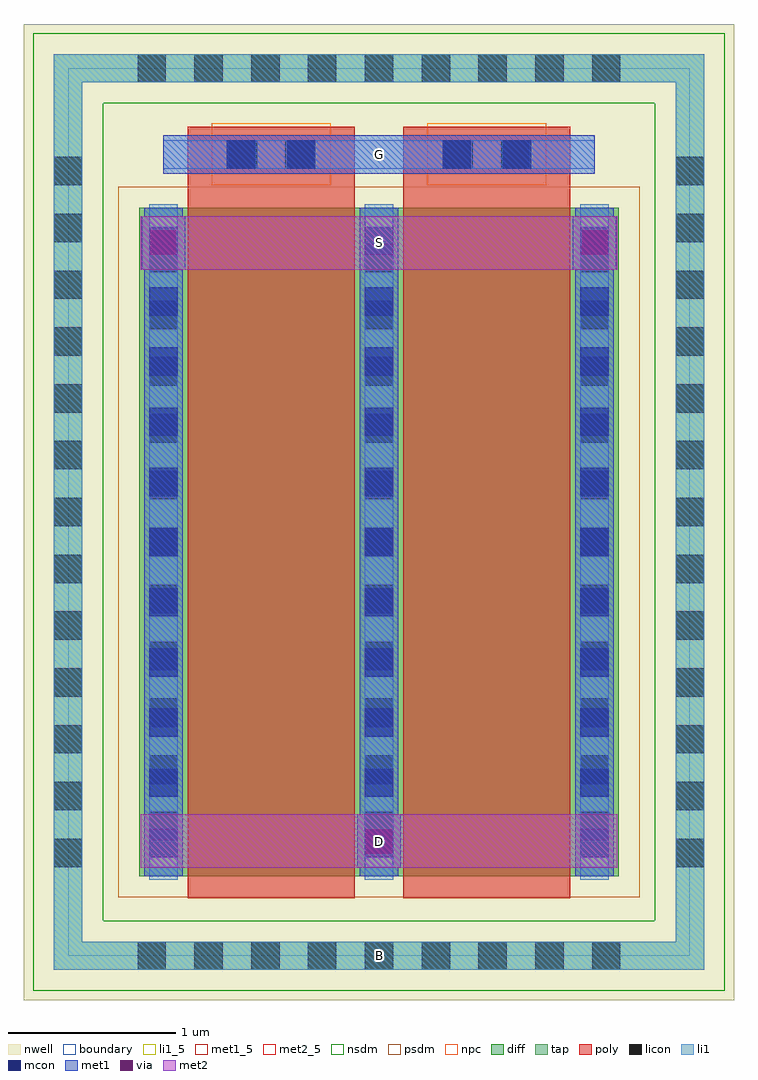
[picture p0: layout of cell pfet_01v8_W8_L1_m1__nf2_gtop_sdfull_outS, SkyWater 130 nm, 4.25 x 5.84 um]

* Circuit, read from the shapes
.subckt pfet_01v8_W8_L1_m1__nf2_gtop_sdfull_outS B D G S
XM1 D G S B sky130_fd_pr__pfet_01v8 w=4 l=1 m=2
.ends

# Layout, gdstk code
import gdstk
lib = gdstk.Library(unit=1e-6, precision=1e-09)
def R(c, l, rs):  # rectangles x0, y0, x1, y1
    for r in rs: c.add(gdstk.rectangle(r[:2], r[2:], *l))
def A(c, l, x, y, w, h, nx, ny, dx, dy):  # array of equal rectangles
    R(c, l, [(x+i*dx, y+j*dy, x+i*dx+w, y+j*dy+h) for i in range(nx) for j in range(ny)])
nwell = (64, 20)
diff = (65, 20)
tap = (65, 44)
poly = (66, 20)
licon = (66, 44)
li1_5 = (67, 5)
li1 = (67, 20)
mcon = (67, 44)
met1_5 = (68, 5)
met1 = (68, 20)
via = (68, 44)
met2_5 = (69, 5)
met2 = (69, 20)
nsdm = (93, 44)
psdm = (94, 20)
npc = (95, 20)
boundary = (235, 4)

sky130_fd_pr__pfet_01v8_ = lib.new_cell('sky130_fd_pr__pfet_01v8_ESSXLC')
R(sky130_fd_pr__pfet_01v8_, nwell, [(-2.125,-2.92,2.125,2.92)])
R(sky130_fd_pr__pfet_01v8_, diff, [(-1.435,-2.18,1.435,1.82)])
R(sky130_fd_pr__pfet_01v8_, tap, [(-1.945,-2.74,1.945,-2.57), (-1.945,-2.57,-1.775,2.57), (1.775,-2.57,1.945,2.57), (-1.945,2.57,1.945,2.74)])
R(sky130_fd_pr__pfet_01v8_, poly, [(-1.145,-2.31,-0.145,2.305), (0.145,-2.31,1.145,2.305)])
A(sky130_fd_pr__pfet_01v8_, licon, -1.445, -2.74, 0.17, 0.17, 9, 2, 0.34, 5.31)
A(sky130_fd_pr__pfet_01v8_, licon, -1.945, -2.125, 0.17, 0.17, 1, 13, 0, 0.34)
A(sky130_fd_pr__pfet_01v8_, licon, 1.775, -2.125, 0.17, 0.17, 1, 13, 0, 0.34)
A(sky130_fd_pr__pfet_01v8_, licon, -1.375, -1.965, 0.17, 0.17, 3, 11, 1.29, 0.34)
R(sky130_fd_pr__pfet_01v8_, licon, [(-0.9,2.055,-0.73,2.225), (-0.56,2.055,-0.39,2.225), (0.39,2.055,0.56,2.225), (0.73,2.055,0.9,2.225)])
A(sky130_fd_pr__pfet_01v8_, li1, -1.375, -2.2, 0.17, 4.04, 3, 1, 1.29, 0)
R(sky130_fd_pr__pfet_01v8_, li1, [(-1.945,-2.74,1.945,-2.57), (-1.945,-2.57,-1.775,2.57), (1.775,-2.57,1.945,2.57), (-1.29,2.055,1.29,2.225), (-1.945,2.57,1.945,2.74)])
A(sky130_fd_pr__pfet_01v8_, mcon, -1.375, -2.065, 0.17, 0.17, 3, 11, 1.29, 0.36)
R(sky130_fd_pr__pfet_01v8_, mcon, [(-0.91,2.055,-0.74,2.225), (-0.55,2.055,-0.38,2.225), (0.38,2.055,0.55,2.225), (0.74,2.055,0.91,2.225)])
A(sky130_fd_pr__pfet_01v8_, met1, -1.405, -2.18, 0.23, 4, 3, 1, 1.29, 0)
R(sky130_fd_pr__pfet_01v8_, met1, [(-1.125,2.025,-0.165,2.055), (0.165,2.025,1.125,2.055), (-1.29,2.055,1.29,2.225), (-1.125,2.225,-0.165,2.255), (0.165,2.225,1.125,2.255)])
R(sky130_fd_pr__pfet_01v8_, nsdm, [(-2.07,-2.865,2.07,-2.445), (-2.07,-2.445,-1.65,2.445), (1.65,-2.445,2.07,2.445), (-2.07,2.445,2.07,2.865)])
R(sky130_fd_pr__pfet_01v8_, psdm, [(-1.56,-2.305,1.56,1.945)])
R(sky130_fd_pr__pfet_01v8_, npc, [(-1,1.955,-0.29,2.325), (0.29,1.955,1,2.325)])
R(sky130_fd_pr__pfet_01v8_, boundary, [(-1.86,-2.655,1.86,2.655)])
sky130_fd_pr__pfet_01v8_.add(gdstk.Label('B', (0,-2.655), layer=67, texttype=5))
sky130_fd_pr__pfet_01v8_.add(gdstk.Label('D0', (-1.29,-0.18), layer=67, texttype=5))
sky130_fd_pr__pfet_01v8_.add(gdstk.Label('G', (0.645,2.14), layer=67, texttype=5))
sky130_fd_pr__pfet_01v8_.add(gdstk.Label('G', (-0.645,2.14), layer=67, texttype=5))
sky130_fd_pr__pfet_01v8_.add(gdstk.Label('S1', (0,-0.18), layer=67, texttype=5))

pfet_01v8_w8_l1_m1__nf2_ = lib.new_cell('pfet_01v8_W8_L1_m1__nf2_gtop_sdfull_outS')
R(pfet_01v8_w8_l1_m1__nf2_, li1_5, [(1.775,-0.085,1.945,0.085)])
R(pfet_01v8_w8_l1_m1__nf2_, li1, [(1.775,-0.085,1.945,0.085)])
R(pfet_01v8_w8_l1_m1__nf2_, met1_5, [(0.57,4.68,3.15,4.91)])
R(pfet_01v8_w8_l1_m1__nf2_, met1, [(1.73,0.525,1.99,0.845), (0.44,4.105,0.7,4.425), (3.02,4.105,3.28,4.425), (0.57,4.68,3.15,4.91)])
R(pfet_01v8_w8_l1_m1__nf2_, via, [(1.785,0.61,1.935,0.76), (0.495,4.19,0.645,4.34), (3.075,4.19,3.225,4.34)])
R(pfet_01v8_w8_l1_m1__nf2_, met2_5, [(0.435,0.525,3.285,0.845), (0.435,4.105,3.285,4.425)])
R(pfet_01v8_w8_l1_m1__nf2_, met2, [(0.435,0.525,3.285,0.845), (0.435,4.105,3.285,4.425)])
pfet_01v8_w8_l1_m1__nf2_.add(gdstk.Reference(sky130_fd_pr__pfet_01v8_, (1.86,2.655)))
pfet_01v8_w8_l1_m1__nf2_.add(gdstk.Label('S', (1.86,4.265), layer=69, texttype=5))
pfet_01v8_w8_l1_m1__nf2_.add(gdstk.Label('D', (1.86,0.685), layer=69, texttype=5))
pfet_01v8_w8_l1_m1__nf2_.add(gdstk.Label('G', (1.86,4.795), layer=68, texttype=5))
pfet_01v8_w8_l1_m1__nf2_.add(gdstk.Label('B', (1.86,0), layer=67, texttype=5))

lib.write_gds('pfet_01v8_W8_L1_m1__nf2_gtop_sdfull_outS.gds')
